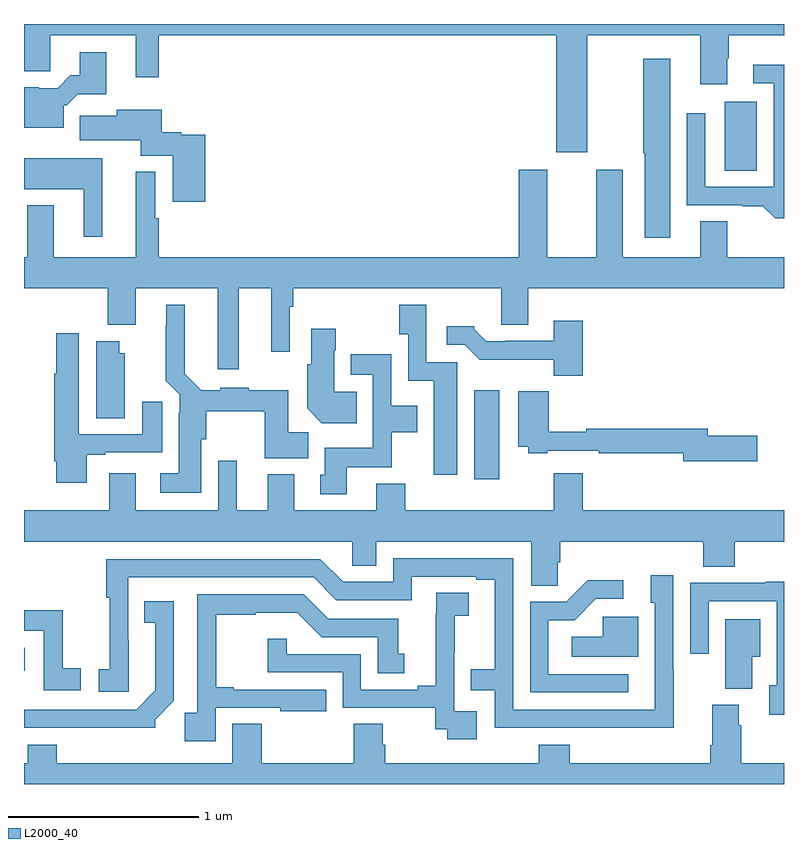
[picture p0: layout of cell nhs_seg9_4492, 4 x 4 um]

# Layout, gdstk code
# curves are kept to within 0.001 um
import gdstk
lib = gdstk.Library(unit=1e-6, precision=1e-09)
def R(c, l, rs):  # rectangles x0, y0, x1, y1
    for r in rs: c.add(gdstk.rectangle(r[:2], r[2:], *l))
def P(c, l, *ps):  # polygons
    for p in ps: c.add(gdstk.Polygon(p, *l))
L2000_40 = (2000, 40)

nhs_seg9_4492 = lib.new_cell('nhs_seg9_4492')
R(nhs_seg9_4492, L2000_40, [(369,1173.095,369.004,1173.217), (371.369,1174.104,371.5,1174.573), (372.689,1175.728,372.856,1176.091)])
P(nhs_seg9_4492, L2000_40, [(371.965,1176.44),(372.56,1176.44),(372.56,1176.183),(372.7,1176.183),(372.7,1176.32),(372.708,1176.32),(372.708,1176.44),(373,1176.44),(373,1176.5),(369,1176.5),(369,1176.251),(369.138,1176.251),(369.138,1176.44),(369.587,1176.44),(369.587,1176.219),(369.709,1176.219),(369.709,1176.44),(371.801,1176.44),(371.801,1175.826),(371.965,1175.826)],
  [(369.208,1176.072),(369.225,1176.072),(369.284,1176.131),(369.433,1176.131),(369.433,1176.352),(369.293,1176.352),(369.293,1176.229),(369.244,1176.229),(369.177,1176.162),(369.077,1176.162),(369.077,1176.166),(369,1176.166),(369,1175.954),(369.208,1175.954)],
  [(372.4,1176.316),(372.259,1176.316),(372.259,1175.821),(372.266,1175.821),(372.266,1175.376),(372.4,1175.376)],
  [(373,1176.286),(372.837,1176.286),(372.837,1176.189),(372.945,1176.189),(372.945,1175.643),(372.585,1175.643),(372.585,1176.031),(372.489,1176.031),(372.489,1175.547),(372.779,1175.547),(372.779,1175.542),(372.887,1175.542),(372.953,1175.477),(373,1175.477)],
  [(369.953,1175.917),(369.828,1175.917),(369.828,1175.93),(369.724,1175.93),(369.724,1176.049),(369.488,1176.049),(369.488,1176.017),(369.294,1176.017),(369.294,1175.888),(369.614,1175.888),(369.614,1175.807),(369.782,1175.807),(369.782,1175.565),(369.953,1175.565)],
  [(369.412,1175.794),(369,1175.794),(369,1175.63),(369.314,1175.63),(369.314,1175.379),(369.412,1175.379)],
  [(369.587,1175.272),(369.157,1175.272),(369.157,1175.545),(369.017,1175.545),(369.017,1175.272),(369,1175.272),(369,1175.108),(369.442,1175.108),(369.442,1174.916),(369.589,1174.916),(369.589,1175.108),(370.019,1175.108),(370.019,1174.683),(370.129,1174.683),(370.129,1175.108),(370.301,1175.108),(370.301,1174.776),(370.398,1174.776),(370.398,1175.012),(370.418,1175.012),(370.418,1175.108),(371.513,1175.108),(371.513,1174.918),(371.653,1174.918),(371.653,1175.108),(373,1175.108),(373,1175.272),(372.7,1175.272),(372.7,1175.462),(372.56,1175.462),(372.56,1175.272),(372.151,1175.272),(372.151,1175.734),(372.011,1175.734),(372.011,1175.272),(371.755,1175.272),(371.755,1175.734),(371.603,1175.734),(371.603,1175.272),(369.709,1175.272),(369.709,1175.477),(369.691,1175.477),(369.691,1175.722),(369.587,1175.722)],
  [(369.934,1174.314),(369.96,1174.314),(369.96,1174.463),(370.261,1174.463),(370.261,1174.456),(370.268,1174.456),(370.268,1174.214),(370.495,1174.214),(370.495,1174.352),(370.39,1174.352),(370.39,1174.573),(370.182,1174.573),(370.182,1174.585),(370.032,1174.585),(370.032,1174.573),(369.933,1174.573),(369.847,1174.66),(369.847,1175.023),(369.749,1175.023),(369.749,1174.913),(369.745,1174.913),(369.745,1174.622),(369.819,1174.548),(369.819,1174.454),(369.815,1174.454),(369.815,1174.135),(369.717,1174.135),(369.717,1174.034),(369.934,1174.034)],
  [(371.281,1174.719),(371.118,1174.719),(371.118,1175.023),(370.975,1175.023),(370.975,1174.867),(371.022,1174.867),(371.022,1174.622),(371.156,1174.622),(371.156,1174.128),(371.281,1174.128)],
  [(371.942,1174.939),(371.789,1174.939),(371.789,1174.833),(371.533,1174.833),(371.533,1174.83),(371.434,1174.83),(371.37,1174.894),(371.37,1174.909),(371.226,1174.909),(371.226,1174.812),(371.319,1174.812),(371.398,1174.734),(371.787,1174.734),(371.787,1174.649),(371.942,1174.649)],
  [(370.751,1174.564),(370.633,1174.564),(370.633,1174.784),(370.641,1174.784),(370.641,1174.897),(370.511,1174.897),(370.511,1174.71),(370.49,1174.71),(370.49,1174.478),(370.568,1174.4),(370.751,1174.4)],
  [(369.331,1174.233),(369.427,1174.233),(369.427,1174.245),(369.727,1174.245),(369.727,1174.513),(369.623,1174.513),(369.623,1174.341),(369.289,1174.341),(369.289,1174.873),(369.17,1174.873),(369.17,1174.66),(369.158,1174.66),(369.158,1174.198),(369.17,1174.198),(369.17,1174.086),(369.331,1174.086)],
  [(369.529,1174.767),(369.502,1174.767),(369.502,1174.831),(369.38,1174.831),(369.38,1174.426),(369.529,1174.426)],
  [(370.699,1174.166),(370.935,1174.166),(370.935,1174.352),(371.071,1174.352),(371.071,1174.492),(370.932,1174.492),(370.932,1174.762),(370.719,1174.762),(370.719,1174.653),(370.836,1174.653),(370.836,1174.27),(370.583,1174.27),(370.583,1174.128),(370.559,1174.128),(370.559,1174.026),(370.699,1174.026)],
  [(372.859,1174.334),(372.598,1174.334),(372.598,1174.37),(371.96,1174.37),(371.96,1174.355),(371.762,1174.355),(371.762,1174.567),(371.6,1174.567),(371.6,1174.274),(371.655,1174.274),(371.655,1174.242),(371.755,1174.242),(371.755,1174.254),(372.025,1174.254),(372.025,1174.242),(372.47,1174.242),(372.47,1174.199),(372.859,1174.199)],
  [(371.808,1173.667),(371.822,1173.667),(371.822,1173.776),(372.575,1173.776),(372.575,1173.643),(372.74,1173.643),(372.74,1173.776),(373,1173.776),(373,1173.94),(371.942,1173.94),(371.942,1174.135),(371.789,1174.135),(371.789,1173.94),(371.006,1173.94),(371.006,1174.081),(370.853,1174.081),(370.853,1173.94),(370.423,1173.94),(370.423,1174.129),(370.283,1174.129),(370.283,1173.94),(370.12,1173.94),(370.12,1174.201),(370.023,1174.201),(370.023,1173.94),(369.589,1173.94),(369.589,1174.135),(369.449,1174.135),(369.449,1173.94),(369,1173.94),(369,1173.776),(370.728,1173.776),(370.728,1173.649),(370.855,1173.649),(370.855,1173.776),(371.669,1173.776),(371.669,1173.544),(371.808,1173.544)],
  [(372.419,1173.098),(372.417,1173.098),(372.417,1173.598),(372.299,1173.598),(372.299,1173.453),(372.321,1173.453),(372.321,1172.892),(371.574,1172.892),(371.574,1173.687),(370.944,1173.687),(370.944,1173.564),(370.68,1173.564),(370.56,1173.684),(369.433,1173.684),(369.433,1173.481),(369.451,1173.481),(369.451,1173.105),(369.393,1173.105),(369.393,1172.985),(369.55,1172.985),(369.549,1173.588),(370.524,1173.588),(370.644,1173.468),(371.04,1173.468),(371.04,1173.591),(371.381,1173.591),(371.381,1173.576),(371.477,1173.576),(371.477,1173.103),(371.35,1173.103),(371.35,1172.994),(371.478,1172.994),(371.478,1172.796),(372.419,1172.795)],
  [(372.181,1173.078),(371.76,1173.078),(371.76,1173.363),(371.898,1173.363),(372.009,1173.474),(372.154,1173.474),(372.154,1173.572),(371.966,1173.572),(371.853,1173.459),(371.664,1173.459),(371.664,1172.982),(372.181,1172.982)],
  [(373,1173.565),(372.903,1173.565),(372.903,1173.558),(372.507,1173.558),(372.507,1173.186),(372.603,1173.186),(372.603,1173.462),(372.963,1173.462),(372.963,1173.021),(372.923,1173.021),(372.923,1172.865),(373,1172.865)],
  [(371.383,1172.883),(371.265,1172.883),(371.265,1173.187),(371.267,1173.187),(371.267,1173.385),(371.341,1173.385),(371.341,1173.506),(371.17,1173.506),(371.17,1173.395),(371.168,1173.395),(371.168,1173.017),(371.072,1173.017),(371.072,1172.997),(370.773,1172.997),(370.773,1173.183),(370.383,1173.183),(370.383,1173.265),(370.282,1173.265),(370.282,1173.087),(370.677,1173.087),(370.677,1172.901),(371.164,1172.901),(371.164,1172.787),(371.227,1172.787),(371.227,1172.736),(371.383,1172.736)],
  [(370.008,1172.901),(370.349,1172.901),(370.349,1172.882),(370.592,1172.882),(370.592,1172.997),(370.105,1172.997),(370.105,1173.01),(370.013,1173.01),(370.013,1173.39),(370.22,1173.39),(370.22,1173.401),(370.438,1173.401),(370.566,1173.273),(370.862,1173.273),(370.862,1173.082),(371.002,1173.082),(371.002,1173.186),(370.969,1173.186),(370.969,1173.369),(370.602,1173.369),(370.473,1173.498),(369.912,1173.498),(369.912,1172.875),(369.847,1172.875),(369.847,1172.724),(370.008,1172.724)],
  [(369.69,1172.839),(369.789,1172.938),(369.789,1173.463),(369.634,1173.463),(369.634,1173.35),(369.692,1173.35),(369.692,1172.993),(369.591,1172.892),(369,1172.892),(369,1172.796),(369.69,1172.795)],
  [(369.298,1173.11),(369.204,1173.11),(369.204,1173.415),(369,1173.415),(369,1173.306),(369.105,1173.306),(369.105,1172.994),(369.298,1172.994)],
  [(372.232,1173.381),(372.045,1173.381),(372.045,1173.274),(371.883,1173.274),(371.883,1173.17),(372.232,1173.17)],
  [(372.832,1173.17),(372.874,1173.17),(372.874,1173.367),(372.692,1173.367),(372.692,1173.001),(372.832,1173.001)],
  [(373,1172.608),(372.776,1172.608),(372.776,1172.81),(372.763,1172.81),(372.763,1172.916),(372.623,1172.916),(372.623,1172.704),(372.611,1172.704),(372.611,1172.608),(371.873,1172.608),(371.873,1172.707),(371.708,1172.707),(371.708,1172.608),(370.901,1172.608),(370.901,1172.706),(370.888,1172.706),(370.888,1172.816),(370.736,1172.816),(370.736,1172.608),(370.25,1172.608),(370.25,1172.816),(370.097,1172.816),(370.097,1172.608),(369.173,1172.608),(369.173,1172.707),(369.02,1172.707),(369.02,1172.608),(369,1172.608),(369,1172.5),(373,1172.5)])

lib.write_gds('nhs_seg9_4492.gds')
